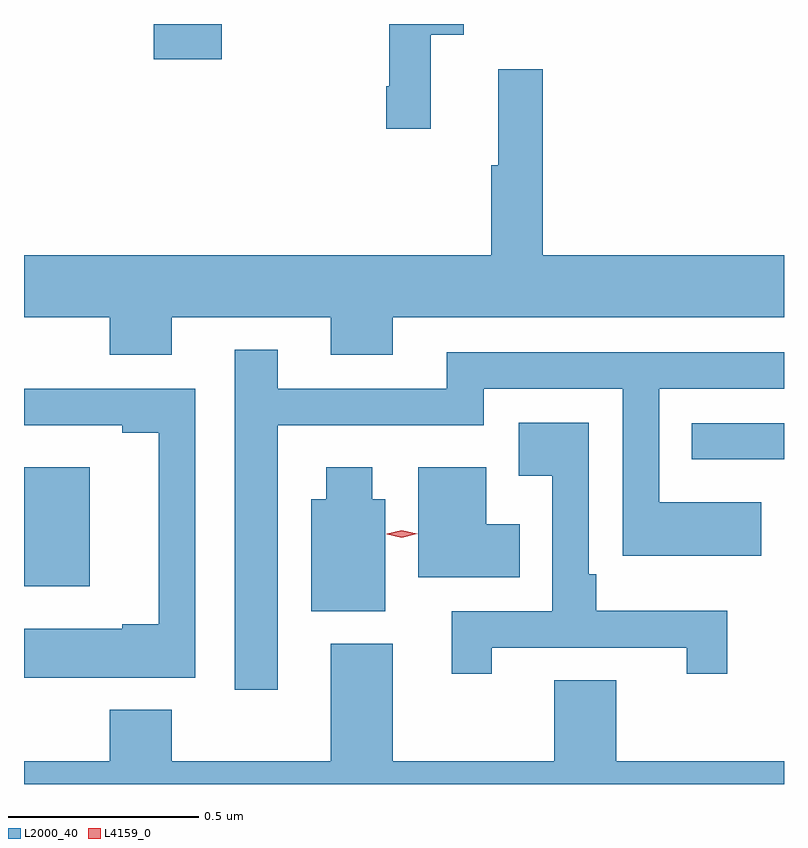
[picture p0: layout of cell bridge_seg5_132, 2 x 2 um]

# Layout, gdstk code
import gdstk
lib = gdstk.Library(unit=1e-6, precision=1e-09)
def R(c, l, rs):  # rectangles x0, y0, x1, y1
    for r in rs: c.add(gdstk.rectangle(r[:2], r[2:], *l))
def P(c, l, *ps):  # polygons
    for p in ps: c.add(gdstk.Polygon(p, *l))
L2000_40 = (2000, 40)
L4159_0 = (4159, 0)

bridge_seg5_132 = lib.new_cell('bridge_seg5_132')
R(bridge_seg5_132, L2000_40, [(452.924,892.016,453.097,892.33), (454.681,892.35,454.924,892.446), (453.266,893.403,453.444,893.496)])
P(bridge_seg5_132, L2000_40, [(453.995,893.468),(454.081,893.468),(454.081,893.496),(453.885,893.496),(453.885,893.332),(453.877,893.332),(453.877,893.22),(453.995,893.22)],
  [(453.313,892.724),(453.731,892.724),(453.731,892.625),(453.895,892.625),(453.895,892.724),(454.924,892.724),(454.924,892.888),(454.289,892.888),(454.289,893.377),(454.172,893.377),(454.172,893.124),(454.153,893.124),(454.153,892.888),(452.924,892.888),(452.924,892.724),(453.149,892.724),(453.149,892.625),(453.313,892.625)],
  [(453.592,892.44),(454.134,892.44),(454.134,892.536),(454.5,892.536),(454.5,892.097),(454.864,892.097),(454.864,892.237),(454.596,892.237),(454.596,892.536),(454.924,892.536),(454.924,892.632),(454.037,892.632),(454.037,892.536),(453.592,892.536),(453.592,892.639),(453.479,892.639),(453.479,891.744),(453.592,891.744)],
  [(453.375,892.536),(452.924,892.536),(452.924,892.44),(453.182,892.44),(453.182,892.42),(453.278,892.42),(453.278,891.917),(453.182,891.917),(453.182,891.904),(452.924,891.904),(452.924,891.776),(453.375,891.776)],
  [(454.155,891.855),(454.668,891.855),(454.668,891.786),(454.774,891.786),(454.774,891.952),(454.43,891.952),(454.43,892.048),(454.41,892.048),(454.41,892.447),(454.226,892.447),(454.226,892.307),(454.314,892.307),(454.314,891.951),(454.05,891.951),(454.05,891.786),(454.155,891.786)],
  [(453.874,892.246),(453.841,892.246),(453.841,892.33),(453.719,892.33),(453.719,892.246),(453.68,892.246),(453.68,891.95),(453.874,891.95)],
  [(454.229,892.18),(454.141,892.18),(454.141,892.33),(453.962,892.33),(453.962,892.04),(454.229,892.04)],
  [(454.924,891.556),(454.483,891.556),(454.483,891.769),(454.319,891.769),(454.319,891.556),(453.895,891.556),(453.895,891.865),(453.731,891.865),(453.731,891.556),(453.313,891.556),(453.313,891.691),(453.149,891.691),(453.149,891.556),(452.924,891.556),(452.924,891.496),(454.924,891.496)])
P(bridge_seg5_132, L4159_0, [(453.918,892.144),(453.878,892.153),(453.878,892.153),(453.878,892.154),(453.918,892.164),(453.959,892.154),(453.959,892.154),(453.959,892.154)])

lib.write_gds('bridge_seg5_132.gds')
